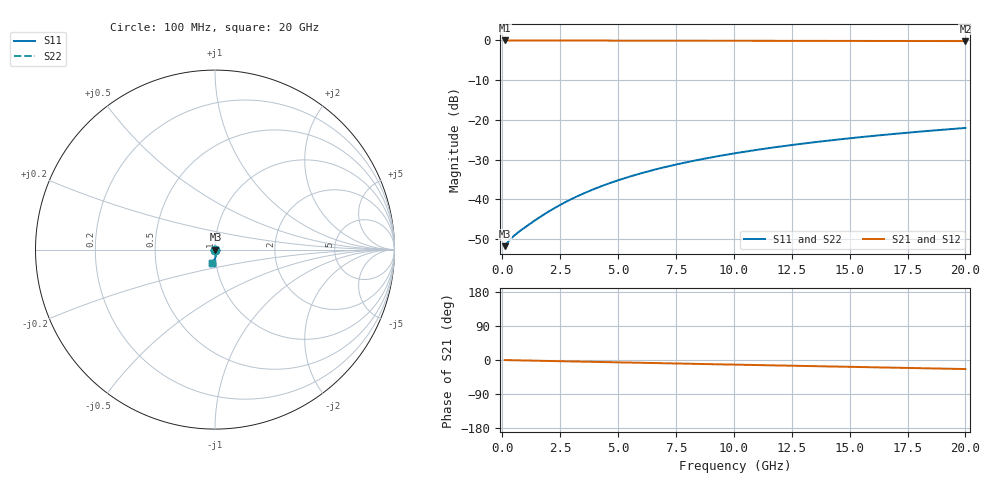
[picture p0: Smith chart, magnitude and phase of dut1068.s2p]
! Touchstone file exported from HFSS 2026.1.0
!  File:  C:/ffzhzh/LocalFiles/Ansys_Project_Files/temp_train_TMRDL_1068_1783160688_51560.aedt
!  Generated:  06:25:51 PM Jul  4, 2026
!  Design:  TMRDL
!  Project:  temp_train_TMRDL_1068_1783160688_51560
! Variables:
!  h_bsmrdl = 2um
!  h_ox = 20um
!  h_rdl = 5um
!  h_sub = 80um
!  h_tmrdl = 5.91um
!  h_tsv = 80um
!  h_via = 3um
!  l_bsmrdl = 300um
!  l_sub = 828.49um
!  l_tmrdl = 428.49um
!  m_sub = 200um
!  pitch = 13.45um
!  r_tsv = 6um
!  s_tmrdl = 10um
!  w_bsmrdl = 18um
!  w_sub = 500um
!  w_tmrdl = 10.52um
!  x_tsv_center1 = 433.75um
!  x_tsv_center2 = 751.75um
!  x_tsv_center3 = 1190.76um
!  x_tsv_center4 = 1508.76um
!  x_tsv_center5 = 1947.77um
!  x_tsv_center6 = 2265.77um
# GHz S MA R 50.000000
! Terminal data exported
! Port[1] = TM_RDL1_1_T1
! Port[2] = TM_RDL1_1_T2
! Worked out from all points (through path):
!   200 points, 100 MHz to 20 GHz, reference 50 ohm
!   highest |S21| = -0.02 dB at 100 MHz (marker M1); lowest = -0.2 dB at 20 GHz (marker M2)
!   group delay of S21, straight-line fit = 3.3 ps
!   lowest |S11| = -51.8 dB at 100 MHz (marker M3), VSWR 1.01, Z = 50.3 + j0.00689 ohm
!   |S11| at or under -10 dB: start of sweep to end of sweep
!   |S22| runs from -51.8 to -22.1 dB; largest |S21 - S12| = 3.1e-15
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0.1  0.002565 1.5  0.9974 -0.1  0.9974 -0.1  0.002565 1.5
! Gamma 0 0 0 0
! Port Impedance 50 0 50 0
0.3  0.003028 -3.1  0.997 -0.4  0.997 -0.4  0.003028 -3.1
0.5  0.003462 -12.2  0.9966 -0.7  0.9966 -0.7  0.003461 -12.2
0.9  0.004256 -28.2  0.9962 -1.2  0.9962 -1.2  0.004255 -28.2
1.5  0.005642 -43.6  0.9958 -1.9  0.9958 -1.9  0.00564 -43.7
2  0.006994 -51.5  0.9954 -2.5  0.9954 -2.5  0.006991 -51.5
2.5  0.008486 -56.9  0.995 -3.2  0.995 -3.2  0.008481 -56.9
3  0.01009 -60.8  0.9945 -3.8  0.9945 -3.8  0.01008 -60.9
3.5  0.01179 -63.9  0.994 -4.4  0.994 -4.4  0.01178 -63.9
4.2  0.0143 -67.3  0.9932 -5.3  0.9932 -5.3  0.01429 -67.4
5  0.01731 -70.5  0.9924 -6.2  0.9924 -6.2  0.0173 -70.6
5.9  0.02084 -73.5  0.9914 -7.3  0.9914 -7.3  0.02082 -73.6
6.8  0.02446 -76.2  0.9905 -8.4  0.9905 -8.4  0.02444 -76.3
7.5  0.02732 -78.2  0.9898 -9.2  0.9898 -9.2  0.0273 -78.3
8.3  0.03063 -80.2  0.9891 -10.2  0.9891 -10.2  0.0306 -80.3
9.2  0.03436 -82.3  0.9883 -11.2  0.9883 -11.2  0.03433 -82.5
10.1  0.03812 -84.3  0.9875 -12.3  0.9875 -12.3  0.03808 -84.5
11.7  0.0448 -87.6  0.9862 -14.2  0.9862 -14.2  0.04476 -87.8
13.4  0.05189 -90.8  0.9848 -16.2  0.9848 -16.2  0.05184 -91.0
15  0.05853 -93.6  0.9836 -18.0  0.9836 -18.0  0.05847 -93.8
16.7  0.06554 -96.4  0.9822 -20.0  0.9822 -20.0  0.06547 -96.6
20  0.07895 -101.5  0.9796 -23.9  0.9796 -23.9  0.07886 -101.7
